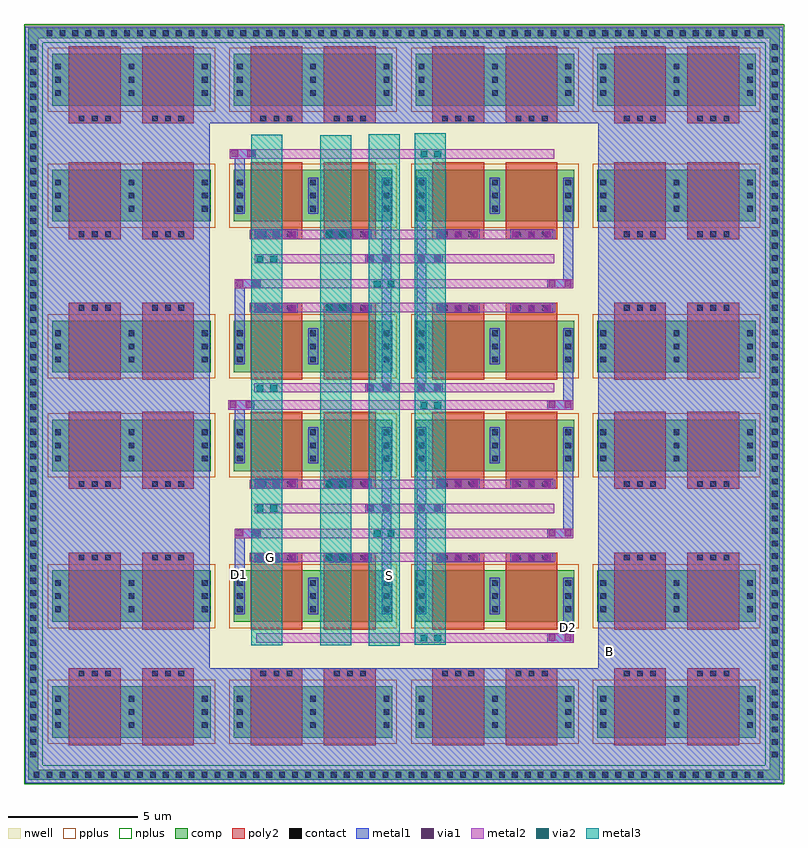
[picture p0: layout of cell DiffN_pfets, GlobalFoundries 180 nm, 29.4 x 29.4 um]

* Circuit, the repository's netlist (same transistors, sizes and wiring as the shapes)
** sch_path: /home/gmaranhao/Desktop/Bracolin/TIA_Filter/PseudoResistor/DiffN_pfets.sch
.subckt DiffN_pfets D1 D2 G S B
*.PININFO D1:B D2:B G:B S:B B:B
M1 net4 G S B pfet_03v3 L=2u W=2u nf=1 m=1
M2 net5 G S B pfet_03v3 L=2u W=2u nf=1 m=1
M3 net3 G S B pfet_03v3 L=2u W=2u nf=1 m=1
M4 net2 G S B pfet_03v3 L=2u W=2u nf=1 m=1
M5 net1 G S B pfet_03v3 L=2u W=2u nf=1 m=1
M6 D1 G net4 B pfet_03v3 L=2u W=2u nf=1 m=1
M7 D1 G net3 B pfet_03v3 L=2u W=2u nf=1 m=1
M8 D1 G net2 B pfet_03v3 L=2u W=2u nf=1 m=1
M9 D1 G net1 B pfet_03v3 L=2u W=2u nf=1 m=1
M10 net6 G S B pfet_03v3 L=2u W=2u nf=1 m=1
M11 net7 G S B pfet_03v3 L=2u W=2u nf=1 m=1
M12 net8 G S B pfet_03v3 L=2u W=2u nf=1 m=1
M13 D2 G net5 B pfet_03v3 L=2u W=2u nf=1 m=1
M14 D2 G net6 B pfet_03v3 L=2u W=2u nf=1 m=1
M15 D2 G net7 B pfet_03v3 L=2u W=2u nf=1 m=1
M16 D2 G net8 B pfet_03v3 L=2u W=2u nf=1 m=1
M17[1] B B B B pfet_03v3 L=2u W=2u nf=1 m=1
M17[2] B B B B pfet_03v3 L=2u W=2u nf=1 m=1
M17[3] B B B B pfet_03v3 L=2u W=2u nf=1 m=1
M17[4] B B B B pfet_03v3 L=2u W=2u nf=1 m=1
M17[5] B B B B pfet_03v3 L=2u W=2u nf=1 m=1
M17[6] B B B B pfet_03v3 L=2u W=2u nf=1 m=1
M17[7] B B B B pfet_03v3 L=2u W=2u nf=1 m=1
M17[8] B B B B pfet_03v3 L=2u W=2u nf=1 m=1
M17[9] B B B B pfet_03v3 L=2u W=2u nf=1 m=1
M17[10] B B B B pfet_03v3 L=2u W=2u nf=1 m=1
M17[11] B B B B pfet_03v3 L=2u W=2u nf=1 m=1
M17[12] B B B B pfet_03v3 L=2u W=2u nf=1 m=1
M17[13] B B B B pfet_03v3 L=2u W=2u nf=1 m=1
M17[14] B B B B pfet_03v3 L=2u W=2u nf=1 m=1
M17[15] B B B B pfet_03v3 L=2u W=2u nf=1 m=1
M17[16] B B B B pfet_03v3 L=2u W=2u nf=1 m=1
M17[17] B B B B pfet_03v3 L=2u W=2u nf=1 m=1
M17[18] B B B B pfet_03v3 L=2u W=2u nf=1 m=1
M17[19] B B B B pfet_03v3 L=2u W=2u nf=1 m=1
M17[20] B B B B pfet_03v3 L=2u W=2u nf=1 m=1
M17[21] B B B B pfet_03v3 L=2u W=2u nf=1 m=1
M17[22] B B B B pfet_03v3 L=2u W=2u nf=1 m=1
M17[23] B B B B pfet_03v3 L=2u W=2u nf=1 m=1
M17[24] B B B B pfet_03v3 L=2u W=2u nf=1 m=1
M17[25] B B B B pfet_03v3 L=2u W=2u nf=1 m=1
M17[26] B B B B pfet_03v3 L=2u W=2u nf=1 m=1
M17[27] B B B B pfet_03v3 L=2u W=2u nf=1 m=1
M17[28] B B B B pfet_03v3 L=2u W=2u nf=1 m=1
M17[29] B B B B pfet_03v3 L=2u W=2u nf=1 m=1
M17[30] B B B B pfet_03v3 L=2u W=2u nf=1 m=1
M17[31] B B B B pfet_03v3 L=2u W=2u nf=1 m=1
M17[32] B B B B pfet_03v3 L=2u W=2u nf=1 m=1
.ends
.end

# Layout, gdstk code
import gdstk
lib = gdstk.Library(unit=1e-6, precision=1e-09)
def R(c, l, rs):  # rectangles x0, y0, x1, y1
    for r in rs: c.add(gdstk.rectangle(r[:2], r[2:], *l))
def A(c, l, x, y, w, h, nx, ny, dx, dy):  # array of equal rectangles
    R(c, l, [(x+i*dx, y+j*dy, x+i*dx+w, y+j*dy+h) for i in range(nx) for j in range(ny)])
nwell = (21, 0)
comp = (22, 0)
poly2 = (30, 0)
pplus = (31, 0)
nplus = (32, 0)
contact = (33, 0)
metal1 = (34, 0)
via1 = (35, 0)
metal2 = (36, 0)
via2 = (38, 0)
metal3 = (42, 0)

pfet = lib.new_cell('pfet')
R(pfet, nwell, [(-0.9,-0.44,3.28,2.44)])
R(pfet, comp, [(-0.46,0,0,2), (0,0,2.38,2), (2.38,0,2.84,2)])
R(pfet, poly2, [(0.19,-0.3,2.19,2.3), (0.19,2.3,2.19,2.68)])
R(pfet, pplus, [(-0.63,-0.24,3.01,2.24)])
A(pfet, contact, -0.34, 0.38, 0.22, 0.22, 1, 3, 0, 0.51)
A(pfet, contact, 2.5, 0.38, 0.22, 0.22, 1, 3, 0, 0.51)
A(pfet, contact, 0.57, 2.38, 0.22, 0.22, 3, 1, 0.51, 0)
R(pfet, metal1, [(-0.42,0.3,-0.04,1.7), (2.42,0.3,2.8,1.7), (0.49,2.3,1.89,2.68)])

diffn_pfets = lib.new_cell('DiffN_pfets')
R(diffn_pfets, nwell, [(-8.535,-6.23,20.775,23.085)])
R(diffn_pfets, comp, [(-8.405,-6.1,20.655,-5.72), (20.275,-5.8,20.655,22.96), (-8.405,-5.735,-8.025,22.96), (-8.285,22.58,20.405,22.96)])
R(diffn_pfets, nplus, [(-8.575,-6.27,20.825,-5.55), (-8.575,-5.645,-7.855,23.13), (20.105,-5.645,20.825,23.13), (-8.455,22.41,20.575,23.13)])
A(diffn_pfets, contact, -8.2, -6.02, 0.22, 0.22, 57, 1, 0.5, 0)
A(diffn_pfets, contact, -8.325, -5.235, 0.22, 0.22, 1, 58, 0, 0.48)
A(diffn_pfets, contact, 20.355, -5.235, 0.22, 0.22, 1, 58, 0, 0.48)
A(diffn_pfets, contact, -7.7, 22.66, 0.22, 0.22, 56, 1, 0.5, 0)
R(diffn_pfets, metal1, [(-8.52,-6.235,-1.39,23.03), (-1.43,-6.235,20.77,-1.8), (13.64,-6.235,20.77,23.03), (11.66,-0.8,12.67,-0.445), (11.66,-0.8,12.67,-0.445), (11.66,-0.8,12.67,-0.445), (12.29,-0.79,12.67,1.17), (5.26,1.585,5.64,4.28), (6.61,1.585,6.99,4.28), (-0.42,1.63,-0.04,3.585), (0.36,2.3,2.01,2.68), (3.21,2.3,4.86,2.68), (7.4,2.3,9.05,2.68), (10.24,2.3,11.89,2.68), (-0.42,3.245,0.59,3.6), (-0.42,3.245,0.59,3.6), (-0.42,3.245,0.59,3.6), (11.66,3.245,12.67,3.6), (11.66,3.245,12.67,3.6), (11.66,3.245,12.67,3.6), (12.29,3.245,12.67,6.885), (4.63,4.21,5.64,4.565), (4.63,4.21,5.64,4.565), (4.63,4.21,5.64,4.565), (4.63,4.21,5.64,4.565), (4.63,4.21,5.64,4.565), (4.63,4.21,5.64,4.565), (5.26,4.21,5.64,6.33), (5.26,4.21,5.64,6.33), (6.61,4.21,7.62,4.565), (6.61,4.21,7.62,4.565), (6.61,4.21,7.62,4.565), (6.61,4.21,7.62,4.565), (6.61,4.21,7.62,4.565), (6.61,4.21,7.62,4.565), (6.61,4.21,6.99,6.33), (6.61,4.21,6.99,6.33), (0.36,5.15,2.01,5.53), (3.21,5.15,4.86,5.53), (7.4,5.15,9.05,5.53), (10.24,5.15,11.89,5.53), (-0.42,7.47,-0.04,8.455), (-0.68,8.215,0.33,8.57), (-0.68,8.215,0.33,8.57), (-0.68,8.215,0.33,8.57), (11.66,8.215,12.67,8.57), (11.66,8.215,12.67,8.57), (11.66,8.215,12.67,8.57), (12.29,8.235,12.67,10.29), (4.63,8.875,5.64,9.23), (4.63,8.875,5.64,9.23), (4.63,8.875,5.64,9.23), (6.61,8.875,7.62,9.23), (6.61,8.875,7.62,9.23), (6.61,8.875,7.62,9.23), (5.26,8.905,5.64,14.015), (6.61,8.905,6.99,14.02), (-0.42,11.29,-0.04,13.245), (0.36,11.96,2.01,12.34), (3.21,11.96,4.86,12.34), (7.4,11.96,9.05,12.34), (10.24,11.96,11.89,12.34), (-0.42,12.905,0.59,13.26), (-0.42,12.905,0.59,13.26), (-0.42,12.905,0.59,13.26), (11.66,12.905,12.67,13.26), (11.66,12.905,12.67,13.26), (11.66,12.905,12.67,13.26), (12.29,12.905,12.67,16.545), (4.63,13.87,5.64,14.225), (4.63,13.87,5.64,14.225), (4.63,13.87,5.64,14.225), (5.26,13.87,5.64,15.99), (6.61,13.87,7.62,14.225), (6.61,13.87,7.62,14.225), (6.61,13.87,7.62,14.225), (6.61,13.87,6.99,15.99), (0.36,14.81,2.01,15.19), (3.21,14.81,4.86,15.19), (7.4,14.81,9.05,15.19), (10.24,14.81,11.89,15.19), (-0.42,17.135,-0.04,18.085), (-0.615,17.925,0.395,18.28), (-0.615,17.925,0.395,18.28), (-0.615,17.925,0.395,18.28), (-1.43,19.29,20.77,23.03)])
R(diffn_pfets, via1, [(11.72,-0.735,11.98,-0.475), (11.72,-0.735,11.98,-0.475), (12.34,-0.735,12.6,-0.475), (12.34,-0.735,12.6,-0.475), (0.43,2.35,0.69,2.61), (0.43,2.35,0.69,2.61), (0.43,2.35,0.69,2.61), (0.43,2.35,0.69,2.61), (0.43,2.35,0.69,2.61), (0.43,2.35,0.69,2.61), (0.43,2.35,0.69,2.61), (0.43,2.35,0.69,2.61), (1.05,2.35,1.31,2.61), (1.05,2.35,1.31,2.61), (1.05,2.35,1.31,2.61), (1.05,2.35,1.31,2.61), (1.05,2.35,1.31,2.61), (1.05,2.35,1.31,2.61), (1.05,2.35,1.31,2.61), (1.05,2.35,1.31,2.61), (1.67,2.35,1.93,2.61), (1.67,2.35,1.93,2.61), (1.67,2.35,1.93,2.61), (1.67,2.35,1.93,2.61), (1.67,2.35,1.93,2.61), (1.67,2.35,1.93,2.61), (1.67,2.35,1.93,2.61), (1.67,2.35,1.93,2.61), (3.28,2.35,3.54,2.61), (3.28,2.35,3.54,2.61), (3.28,2.35,3.54,2.61), (3.28,2.35,3.54,2.61), (3.28,2.35,3.54,2.61), (3.28,2.35,3.54,2.61), (3.28,2.35,3.54,2.61), (3.28,2.35,3.54,2.61), (3.9,2.35,4.16,2.61), (3.9,2.35,4.16,2.61), (3.9,2.35,4.16,2.61), (3.9,2.35,4.16,2.61), (3.9,2.35,4.16,2.61), (3.9,2.35,4.16,2.61), (3.9,2.35,4.16,2.61), (3.9,2.35,4.16,2.61), (4.52,2.35,4.78,2.61), (4.52,2.35,4.78,2.61), (4.52,2.35,4.78,2.61), (4.52,2.35,4.78,2.61), (4.52,2.35,4.78,2.61), (4.52,2.35,4.78,2.61), (4.52,2.35,4.78,2.61), (4.52,2.35,4.78,2.61), (7.47,2.35,7.73,2.61), (7.47,2.35,7.73,2.61), (7.47,2.35,7.73,2.61), (7.47,2.35,7.73,2.61), (7.47,2.35,7.73,2.61), (7.47,2.35,7.73,2.61), (7.47,2.35,7.73,2.61), (7.47,2.35,7.73,2.61), (8.09,2.35,8.35,2.61), (8.09,2.35,8.35,2.61), (8.09,2.35,8.35,2.61), (8.09,2.35,8.35,2.61), (8.09,2.35,8.35,2.61), (8.09,2.35,8.35,2.61), (8.09,2.35,8.35,2.61), (8.09,2.35,8.35,2.61), (8.71,2.35,8.97,2.61), (8.71,2.35,8.97,2.61), (8.71,2.35,8.97,2.61), (8.71,2.35,8.97,2.61), (8.71,2.35,8.97,2.61), (8.71,2.35,8.97,2.61), (8.71,2.35,8.97,2.61), (8.71,2.35,8.97,2.61), (10.31,2.35,10.57,2.61), (10.31,2.35,10.57,2.61), (10.31,2.35,10.57,2.61), (10.31,2.35,10.57,2.61), (10.31,2.35,10.57,2.61), (10.31,2.35,10.57,2.61), (10.31,2.35,10.57,2.61), (10.31,2.35,10.57,2.61), (10.93,2.35,11.19,2.61), (10.93,2.35,11.19,2.61), (10.93,2.35,11.19,2.61), (10.93,2.35,11.19,2.61), (10.93,2.35,11.19,2.61), (10.93,2.35,11.19,2.61), (10.93,2.35,11.19,2.61), (10.93,2.35,11.19,2.61), (11.55,2.35,11.81,2.61), (11.55,2.35,11.81,2.61), (11.55,2.35,11.81,2.61), (11.55,2.35,11.81,2.61), (11.55,2.35,11.81,2.61), (11.55,2.35,11.81,2.61), (11.55,2.35,11.81,2.61), (11.55,2.35,11.81,2.61), (-0.36,3.31,-0.1,3.57), (-0.36,3.31,-0.1,3.57), (0.26,3.31,0.52,3.57), (0.26,3.31,0.52,3.57), (11.72,3.31,11.98,3.57), (11.72,3.31,11.98,3.57), (12.34,3.31,12.6,3.57), (12.34,3.31,12.6,3.57), (4.69,4.275,4.95,4.535), (4.69,4.275,4.95,4.535), (4.69,4.275,4.95,4.535), (4.69,4.275,4.95,4.535), (5.31,4.275,5.57,4.535), (5.31,4.275,5.57,4.535), (5.31,4.275,5.57,4.535), (5.31,4.275,5.57,4.535), (6.67,4.275,6.93,4.535), (6.67,4.275,6.93,4.535), (6.67,4.275,6.93,4.535), (6.67,4.275,6.93,4.535), (7.29,4.275,7.55,4.535), (7.29,4.275,7.55,4.535), (7.29,4.275,7.55,4.535), (7.29,4.275,7.55,4.535), (0.43,5.2,0.69,5.46), (0.43,5.2,0.69,5.46), (0.43,5.2,0.69,5.46), (0.43,5.2,0.69,5.46), (0.43,5.2,0.69,5.46), (0.43,5.2,0.69,5.46), (0.43,5.2,0.69,5.46), (0.43,5.2,0.69,5.46), (1.05,5.2,1.31,5.46), (1.05,5.2,1.31,5.46), (1.05,5.2,1.31,5.46), (1.05,5.2,1.31,5.46), (1.05,5.2,1.31,5.46), (1.05,5.2,1.31,5.46), (1.05,5.2,1.31,5.46), (1.05,5.2,1.31,5.46), (1.67,5.2,1.93,5.46), (1.67,5.2,1.93,5.46), (1.67,5.2,1.93,5.46), (1.67,5.2,1.93,5.46), (1.67,5.2,1.93,5.46), (1.67,5.2,1.93,5.46), (1.67,5.2,1.93,5.46), (1.67,5.2,1.93,5.46), (3.28,5.2,3.54,5.46), (3.28,5.2,3.54,5.46), (3.28,5.2,3.54,5.46), (3.28,5.2,3.54,5.46), (3.28,5.2,3.54,5.46), (3.28,5.2,3.54,5.46), (3.28,5.2,3.54,5.46), (3.28,5.2,3.54,5.46), (3.9,5.2,4.16,5.46), (3.9,5.2,4.16,5.46), (3.9,5.2,4.16,5.46), (3.9,5.2,4.16,5.46), (3.9,5.2,4.16,5.46), (3.9,5.2,4.16,5.46), (3.9,5.2,4.16,5.46), (3.9,5.2,4.16,5.46), (4.52,5.2,4.78,5.46), (4.52,5.2,4.78,5.46), (4.52,5.2,4.78,5.46), (4.52,5.2,4.78,5.46), (4.52,5.2,4.78,5.46), (4.52,5.2,4.78,5.46), (4.52,5.2,4.78,5.46), (4.52,5.2,4.78,5.46), (7.47,5.2,7.73,5.46), (7.47,5.2,7.73,5.46), (7.47,5.2,7.73,5.46), (7.47,5.2,7.73,5.46), (7.47,5.2,7.73,5.46), (7.47,5.2,7.73,5.46), (7.47,5.2,7.73,5.46), (7.47,5.2,7.73,5.46), (8.09,5.2,8.35,5.46), (8.09,5.2,8.35,5.46), (8.09,5.2,8.35,5.46), (8.09,5.2,8.35,5.46), (8.09,5.2,8.35,5.46), (8.09,5.2,8.35,5.46), (8.09,5.2,8.35,5.46), (8.09,5.2,8.35,5.46), (8.71,5.2,8.97,5.46), (8.71,5.2,8.97,5.46), (8.71,5.2,8.97,5.46), (8.71,5.2,8.97,5.46), (8.71,5.2,8.97,5.46), (8.71,5.2,8.97,5.46), (8.71,5.2,8.97,5.46), (8.71,5.2,8.97,5.46), (10.31,5.2,10.57,5.46), (10.31,5.2,10.57,5.46), (10.31,5.2,10.57,5.46), (10.31,5.2,10.57,5.46), (10.31,5.2,10.57,5.46), (10.31,5.2,10.57,5.46), (10.31,5.2,10.57,5.46), (10.31,5.2,10.57,5.46), (10.93,5.2,11.19,5.46), (10.93,5.2,11.19,5.46), (10.93,5.2,11.19,5.46), (10.93,5.2,11.19,5.46), (10.93,5.2,11.19,5.46), (10.93,5.2,11.19,5.46), (10.93,5.2,11.19,5.46), (10.93,5.2,11.19,5.46), (11.55,5.2,11.81,5.46), (11.55,5.2,11.81,5.46), (11.55,5.2,11.81,5.46), (11.55,5.2,11.81,5.46), (11.55,5.2,11.81,5.46), (11.55,5.2,11.81,5.46), (11.55,5.2,11.81,5.46), (11.55,5.2,11.81,5.46), (-0.62,8.28,-0.36,8.54), (-0.62,8.28,-0.36,8.54), (0,8.28,0.26,8.54), (0,8.28,0.26,8.54), (11.72,8.28,11.98,8.54), (11.72,8.28,11.98,8.54), (12.34,8.28,12.6,8.54), (12.34,8.28,12.6,8.54), (4.69,8.94,4.95,9.2), (4.69,8.94,4.95,9.2), (5.31,8.94,5.57,9.2), (5.31,8.94,5.57,9.2), (6.67,8.94,6.93,9.2), (6.67,8.94,6.93,9.2), (7.29,8.94,7.55,9.2), (7.29,8.94,7.55,9.2), (0.43,12.01,0.69,12.27), (0.43,12.01,0.69,12.27), (0.43,12.01,0.69,12.27), (0.43,12.01,0.69,12.27), (0.43,12.01,0.69,12.27), (0.43,12.01,0.69,12.27), (0.43,12.01,0.69,12.27), (0.43,12.01,0.69,12.27), (1.05,12.01,1.31,12.27), (1.05,12.01,1.31,12.27), (1.05,12.01,1.31,12.27), (1.05,12.01,1.31,12.27), (1.05,12.01,1.31,12.27), (1.05,12.01,1.31,12.27), (1.05,12.01,1.31,12.27), (1.05,12.01,1.31,12.27), (1.67,12.01,1.93,12.27), (1.67,12.01,1.93,12.27), (1.67,12.01,1.93,12.27), (1.67,12.01,1.93,12.27), (1.67,12.01,1.93,12.27), (1.67,12.01,1.93,12.27), (1.67,12.01,1.93,12.27), (1.67,12.01,1.93,12.27), (3.28,12.01,3.54,12.27), (3.28,12.01,3.54,12.27), (3.28,12.01,3.54,12.27), (3.28,12.01,3.54,12.27), (3.28,12.01,3.54,12.27), (3.28,12.01,3.54,12.27), (3.28,12.01,3.54,12.27), (3.28,12.01,3.54,12.27), (3.9,12.01,4.16,12.27), (3.9,12.01,4.16,12.27), (3.9,12.01,4.16,12.27), (3.9,12.01,4.16,12.27), (3.9,12.01,4.16,12.27), (3.9,12.01,4.16,12.27), (3.9,12.01,4.16,12.27), (3.9,12.01,4.16,12.27), (4.52,12.01,4.78,12.27), (4.52,12.01,4.78,12.27), (4.52,12.01,4.78,12.27), (4.52,12.01,4.78,12.27), (4.52,12.01,4.78,12.27), (4.52,12.01,4.78,12.27), (4.52,12.01,4.78,12.27), (4.52,12.01,4.78,12.27), (7.47,12.01,7.73,12.27), (7.47,12.01,7.73,12.27), (7.47,12.01,7.73,12.27), (7.47,12.01,7.73,12.27), (7.47,12.01,7.73,12.27), (7.47,12.01,7.73,12.27), (7.47,12.01,7.73,12.27), (7.47,12.01,7.73,12.27), (8.09,12.01,8.35,12.27), (8.09,12.01,8.35,12.27), (8.09,12.01,8.35,12.27), (8.09,12.01,8.35,12.27), (8.09,12.01,8.35,12.27), (8.09,12.01,8.35,12.27), (8.09,12.01,8.35,12.27), (8.09,12.01,8.35,12.27), (8.71,12.01,8.97,12.27), (8.71,12.01,8.97,12.27), (8.71,12.01,8.97,12.27), (8.71,12.01,8.97,12.27), (8.71,12.01,8.97,12.27), (8.71,12.01,8.97,12.27), (8.71,12.01,8.97,12.27), (8.71,12.01,8.97,12.27), (10.31,12.01,10.57,12.27), (10.31,12.01,10.57,12.27), (10.31,12.01,10.57,12.27), (10.31,12.01,10.57,12.27), (10.31,12.01,10.57,12.27), (10.31,12.01,10.57,12.27), (10.31,12.01,10.57,12.27), (10.31,12.01,10.57,12.27), (10.93,12.01,11.19,12.27), (10.93,12.01,11.19,12.27), (10.93,12.01,11.19,12.27), (10.93,12.01,11.19,12.27), (10.93,12.01,11.19,12.27), (10.93,12.01,11.19,12.27), (10.93,12.01,11.19,12.27), (10.93,12.01,11.19,12.27), (11.55,12.01,11.81,12.27), (11.55,12.01,11.81,12.27), (11.55,12.01,11.81,12.27), (11.55,12.01,11.81,12.27), (11.55,12.01,11.81,12.27), (11.55,12.01,11.81,12.27), (11.55,12.01,11.81,12.27), (11.55,12.01,11.81,12.27), (-0.36,12.97,-0.1,13.23), (-0.36,12.97,-0.1,13.23), (0.26,12.97,0.52,13.23), (0.26,12.97,0.52,13.23), (11.72,12.97,11.98,13.23), (11.72,12.97,11.98,13.23), (12.34,12.97,12.6,13.23), (12.34,12.97,12.6,13.23), (4.69,13.935,4.95,14.195), (4.69,13.935,4.95,14.195), (5.31,13.935,5.57,14.195), (5.31,13.935,5.57,14.195), (6.67,13.935,6.93,14.195), (6.67,13.935,6.93,14.195), (7.29,13.935,7.55,14.195), (7.29,13.935,7.55,14.195), (0.43,14.86,0.69,15.12), (0.43,14.86,0.69,15.12), (0.43,14.86,0.69,15.12), (0.43,14.86,0.69,15.12), (0.43,14.86,0.69,15.12), (0.43,14.86,0.69,15.12), (0.43,14.86,0.69,15.12), (0.43,14.86,0.69,15.12), (1.05,14.86,1.31,15.12), (1.05,14.86,1.31,15.12), (1.05,14.86,1.31,15.12), (1.05,14.86,1.31,15.12), (1.05,14.86,1.31,15.12), (1.05,14.86,1.31,15.12), (1.05,14.86,1.31,15.12), (1.05,14.86,1.31,15.12), (1.67,14.86,1.93,15.12), (1.67,14.86,1.93,15.12), (1.67,14.86,1.93,15.12), (1.67,14.86,1.93,15.12), (1.67,14.86,1.93,15.12), (1.67,14.86,1.93,15.12), (1.67,14.86,1.93,15.12), (1.67,14.86,1.93,15.12), (3.28,14.86,3.54,15.12), (3.28,14.86,3.54,15.12), (3.28,14.86,3.54,15.12), (3.28,14.86,3.54,15.12), (3.28,14.86,3.54,15.12), (3.28,14.86,3.54,15.12), (3.28,14.86,3.54,15.12), (3.28,14.86,3.54,15.12), (3.9,14.86,4.16,15.12), (3.9,14.86,4.16,15.12), (3.9,14.86,4.16,15.12), (3.9,14.86,4.16,15.12), (3.9,14.86,4.16,15.12), (3.9,14.86,4.16,15.12), (3.9,14.86,4.16,15.12), (3.9,14.86,4.16,15.12), (4.52,14.86,4.78,15.12), (4.52,14.86,4.78,15.12), (4.52,14.86,4.78,15.12), (4.52,14.86,4.78,15.12), (4.52,14.86,4.78,15.12), (4.52,14.86,4.78,15.12), (4.52,14.86,4.78,15.12), (4.52,14.86,4.78,15.12), (7.47,14.86,7.73,15.12), (7.47,14.86,7.73,15.12), (7.47,14.86,7.73,15.12), (7.47,14.86,7.73,15.12), (7.47,14.86,7.73,15.12), (7.47,14.86,7.73,15.12), (7.47,14.86,7.73,15.12), (7.47,14.86,7.73,15.12), (8.09,14.86,8.35,15.12), (8.09,14.86,8.35,15.12), (8.09,14.86,8.35,15.12), (8.09,14.86,8.35,15.12), (8.09,14.86,8.35,15.12), (8.09,14.86,8.35,15.12), (8.09,14.86,8.35,15.12), (8.09,14.86,8.35,15.12), (8.71,14.86,8.97,15.12), (8.71,14.86,8.97,15.12), (8.71,14.86,8.97,15.12), (8.71,14.86,8.97,15.12), (8.71,14.86,8.97,15.12), (8.71,14.86,8.97,15.12), (8.71,14.86,8.97,15.12), (8.71,14.86,8.97,15.12), (10.31,14.86,10.57,15.12), (10.31,14.86,10.57,15.12), (10.31,14.86,10.57,15.12), (10.31,14.86,10.57,15.12), (10.31,14.86,10.57,15.12), (10.31,14.86,10.57,15.12), (10.31,14.86,10.57,15.12), (10.31,14.86,10.57,15.12), (10.93,14.86,11.19,15.12), (10.93,14.86,11.19,15.12), (10.93,14.86,11.19,15.12), (10.93,14.86,11.19,15.12), (10.93,14.86,11.19,15.12), (10.93,14.86,11.19,15.12), (10.93,14.86,11.19,15.12), (10.93,14.86,11.19,15.12), (11.55,14.86,11.81,15.12), (11.55,14.86,11.81,15.12), (11.55,14.86,11.81,15.12), (11.55,14.86,11.81,15.12), (11.55,14.86,11.81,15.12), (11.55,14.86,11.81,15.12), (11.55,14.86,11.81,15.12), (11.55,14.86,11.81,15.12), (-0.555,17.99,-0.295,18.25), (-0.555,17.99,-0.295,18.25), (0.065,17.99,0.325,18.25), (0.065,17.99,0.325,18.25)])
R(diffn_pfets, metal2, [(0.41,-0.8,12.7,-0.445), (0.15,2.325,11.97,2.68), (-0.43,3.245,12.675,3.6), (0.36,4.21,11.935,4.565), (0.15,5.15,11.97,5.505), (-0.68,8.215,12.67,8.57), (0.34,8.875,11.935,9.23), (0.15,11.985,11.97,12.34), (0.15,11.985,11.97,12.34), (-0.43,12.905,12.675,13.26), (0.35,13.87,11.935,14.225), (0.15,14.81,11.97,15.165), (0.15,14.81,11.97,15.165), (-0.615,17.925,11.935,18.28)])
R(diffn_pfets, via2, [(6.77,-0.755,7.03,-0.495), (6.77,-0.755,7.03,-0.495), (6.77,-0.755,7.03,-0.495), (6.77,-0.755,7.03,-0.495), (6.77,-0.755,7.03,-0.495), (6.77,-0.755,7.03,-0.495), (6.77,-0.755,7.03,-0.495), (6.77,-0.755,7.03,-0.495), (7.3,-0.755,7.56,-0.495), (7.3,-0.755,7.56,-0.495), (7.3,-0.755,7.56,-0.495), (7.3,-0.755,7.56,-0.495), (7.3,-0.755,7.56,-0.495), (7.3,-0.755,7.56,-0.495), (7.3,-0.755,7.56,-0.495), (7.3,-0.755,7.56,-0.495), (3.095,2.37,3.355,2.63), (3.095,2.37,3.355,2.63), (3.095,2.37,3.355,2.63), (3.095,2.37,3.355,2.63), (3.095,2.37,3.355,2.63), (3.095,2.37,3.355,2.63), (3.095,2.37,3.355,2.63), (3.095,2.37,3.355,2.63), (3.625,2.37,3.885,2.63), (3.625,2.37,3.885,2.63), (3.625,2.37,3.885,2.63), (3.625,2.37,3.885,2.63), (3.625,2.37,3.885,2.63), (3.625,2.37,3.885,2.63), (3.625,2.37,3.885,2.63), (3.625,2.37,3.885,2.63), (4.96,3.29,5.22,3.55), (4.96,3.29,5.22,3.55), (4.96,3.29,5.22,3.55), (4.96,3.29,5.22,3.55), (4.96,3.29,5.22,3.55), (4.96,3.29,5.22,3.55), (4.96,3.29,5.22,3.55), (4.96,3.29,5.22,3.55), (5.49,3.29,5.75,3.55), (5.49,3.29,5.75,3.55), (5.49,3.29,5.75,3.55), (5.49,3.29,5.75,3.55), (5.49,3.29,5.75,3.55), (5.49,3.29,5.75,3.55), (5.49,3.29,5.75,3.55), (5.49,3.29,5.75,3.55), (0.425,4.265,0.685,4.525), (0.425,4.265,0.685,4.525), (0.425,4.265,0.685,4.525), (0.425,4.265,0.685,4.525), (0.425,4.265,0.685,4.525), (0.425,4.265,0.685,4.525), (0.425,4.265,0.685,4.525), (0.425,4.265,0.685,4.525), (0.955,4.265,1.215,4.525), (0.955,4.265,1.215,4.525), (0.955,4.265,1.215,4.525), (0.955,4.265,1.215,4.525), (0.955,4.265,1.215,4.525), (0.955,4.265,1.215,4.525), (0.955,4.265,1.215,4.525), (0.955,4.265,1.215,4.525), (3.095,5.195,3.355,5.455), (3.095,5.195,3.355,5.455), (3.095,5.195,3.355,5.455), (3.095,5.195,3.355,5.455), (3.095,5.195,3.355,5.455), (3.095,5.195,3.355,5.455), (3.095,5.195,3.355,5.455), (3.095,5.195,3.355,5.455), (3.625,5.195,3.885,5.455), (3.625,5.195,3.885,5.455), (3.625,5.195,3.885,5.455), (3.625,5.195,3.885,5.455), (3.625,5.195,3.885,5.455), (3.625,5.195,3.885,5.455), (3.625,5.195,3.885,5.455), (3.625,5.195,3.885,5.455), (6.77,8.255,7.03,8.515), (6.77,8.255,7.03,8.515), (6.77,8.255,7.03,8.515), (6.77,8.255,7.03,8.515), (6.77,8.255,7.03,8.515), (6.77,8.255,7.03,8.515), (6.77,8.255,7.03,8.515), (6.77,8.255,7.03,8.515), (7.3,8.255,7.56,8.515), (7.3,8.255,7.56,8.515), (7.3,8.255,7.56,8.515), (7.3,8.255,7.56,8.515), (7.3,8.255,7.56,8.515), (7.3,8.255,7.56,8.515), (7.3,8.255,7.56,8.515), (7.3,8.255,7.56,8.515), (0.425,8.91,0.685,9.17), (0.425,8.91,0.685,9.17), (0.425,8.91,0.685,9.17), (0.425,8.91,0.685,9.17), (0.425,8.91,0.685,9.17), (0.425,8.91,0.685,9.17), (0.425,8.91,0.685,9.17), (0.425,8.91,0.685,9.17), (0.955,8.91,1.215,9.17), (0.955,8.91,1.215,9.17), (0.955,8.91,1.215,9.17), (0.955,8.91,1.215,9.17), (0.955,8.91,1.215,9.17), (0.955,8.91,1.215,9.17), (0.955,8.91,1.215,9.17), (0.955,8.91,1.215,9.17), (3.095,12.03,3.355,12.29), (3.095,12.03,3.355,12.29), (3.095,12.03,3.355,12.29), (3.095,12.03,3.355,12.29), (3.095,12.03,3.355,12.29), (3.095,12.03,3.355,12.29), (3.095,12.03,3.355,12.29), (3.095,12.03,3.355,12.29), (3.625,12.03,3.885,12.29), (3.625,12.03,3.885,12.29), (3.625,12.03,3.885,12.29), (3.625,12.03,3.885,12.29), (3.625,12.03,3.885,12.29), (3.625,12.03,3.885,12.29), (3.625,12.03,3.885,12.29), (3.625,12.03,3.885,12.29), (4.96,12.94,5.22,13.2), (4.96,12.94,5.22,13.2), (4.96,12.94,5.22,13.2), (4.96,12.94,5.22,13.2), (4.96,12.94,5.22,13.2), (4.96,12.94,5.22,13.2), (4.96,12.94,5.22,13.2), (4.96,12.94,5.22,13.2), (5.49,12.94,5.75,13.2), (5.49,12.94,5.75,13.2), (5.49,12.94,5.75,13.2), (5.49,12.94,5.75,13.2), (5.49,12.94,5.75,13.2), (5.49,12.94,5.75,13.2), (5.49,12.94,5.75,13.2), (5.49,12.94,5.75,13.2), (0.425,13.91,0.685,14.17), (0.425,13.91,0.685,14.17), (0.425,13.91,0.685,14.17), (0.425,13.91,0.685,14.17), (0.425,13.91,0.685,14.17), (0.425,13.91,0.685,14.17), (0.425,13.91,0.685,14.17), (0.425,13.91,0.685,14.17), (0.955,13.91,1.215,14.17), (0.955,13.91,1.215,14.17), (0.955,13.91,1.215,14.17), (0.955,13.91,1.215,14.17), (0.955,13.91,1.215,14.17), (0.955,13.91,1.215,14.17), (0.955,13.91,1.215,14.17), (0.955,13.91,1.215,14.17), (3.095,14.87,3.355,15.13), (3.095,14.87,3.355,15.13), (3.095,14.87,3.355,15.13), (3.095,14.87,3.355,15.13), (3.095,14.87,3.355,15.13), (3.095,14.87,3.355,15.13), (3.095,14.87,3.355,15.13), (3.095,14.87,3.355,15.13), (3.625,14.87,3.885,15.13), (3.625,14.87,3.885,15.13), (3.625,14.87,3.885,15.13), (3.625,14.87,3.885,15.13), (3.625,14.87,3.885,15.13), (3.625,14.87,3.885,15.13), (3.625,14.87,3.885,15.13), (3.625,14.87,3.885,15.13), (6.77,17.975,7.03,18.235), (6.77,17.975,7.03,18.235), (6.77,17.975,7.03,18.235), (6.77,17.975,7.03,18.235), (6.77,17.975,7.03,18.235), (6.77,17.975,7.03,18.235), (6.77,17.975,7.03,18.235), (6.77,17.975,7.03,18.235), (6.77,17.975,7.03,18.235), (6.77,17.975,7.03,18.235), (6.77,17.975,7.03,18.235), (6.77,17.975,7.03,18.235), (6.77,17.975,7.03,18.235), (6.77,17.975,7.03,18.235), (6.77,17.975,7.03,18.235), (6.77,17.975,7.03,18.235), (7.3,17.975,7.56,18.235), (7.3,17.975,7.56,18.235), (7.3,17.975,7.56,18.235), (7.3,17.975,7.56,18.235), (7.3,17.975,7.56,18.235), (7.3,17.975,7.56,18.235), (7.3,17.975,7.56,18.235), (7.3,17.975,7.56,18.235), (7.3,17.975,7.56,18.235), (7.3,17.975,7.56,18.235), (7.3,17.975,7.56,18.235), (7.3,17.975,7.56,18.235), (7.3,17.975,7.56,18.235), (7.3,17.975,7.56,18.235), (7.3,17.975,7.56,18.235), (7.3,17.975,7.56,18.235)])
R(diffn_pfets, metal3, [(4.76,-0.92,5.96,18.86), (0.22,-0.905,1.42,18.84), (2.88,-0.9,4.08,18.825), (6.545,-0.89,7.745,18.895)])
diffn_pfets.add(gdstk.Reference(pfet, (0,7.83), x_reflection=True))
diffn_pfets.add(gdstk.Reference(pfet, (2.84,7.83), x_reflection=True))
diffn_pfets.add(gdstk.Reference(pfet, (7.03,7.83), x_reflection=True))
diffn_pfets.add(gdstk.Reference(pfet, (9.87,7.83), x_reflection=True))
diffn_pfets.add(gdstk.Reference(pfet, (0,0)))
diffn_pfets.add(gdstk.Reference(pfet, (2.84,0)))
diffn_pfets.add(gdstk.Reference(pfet, (9.87,0)))
diffn_pfets.add(gdstk.Reference(pfet, (0,17.49), x_reflection=True))
diffn_pfets.add(gdstk.Reference(pfet, (2.84,17.49), x_reflection=True))
diffn_pfets.add(gdstk.Reference(pfet, (7.03,17.49), x_reflection=True))
diffn_pfets.add(gdstk.Reference(pfet, (9.87,17.49), x_reflection=True))
diffn_pfets.add(gdstk.Reference(pfet, (0,9.66)))
diffn_pfets.add(gdstk.Reference(pfet, (2.84,9.66)))
diffn_pfets.add(gdstk.Reference(pfet, (7.03,9.66)))
diffn_pfets.add(gdstk.Reference(pfet, (9.87,9.66)))
diffn_pfets.add(gdstk.Reference(pfet, (7.03,0)))
diffn_pfets.add(gdstk.Reference(pfet, (0,7.83), x_reflection=True))
diffn_pfets.add(gdstk.Reference(pfet, (2.84,7.83), x_reflection=True))
diffn_pfets.add(gdstk.Reference(pfet, (0,0)))
diffn_pfets.add(gdstk.Reference(pfet, (0,17.49), x_reflection=True))
diffn_pfets.add(gdstk.Reference(pfet, (2.84,17.49), x_reflection=True))
diffn_pfets.add(gdstk.Reference(pfet, (0,9.66)))
diffn_pfets.add(gdstk.Reference(pfet, (2.84,9.66)))
diffn_pfets.add(gdstk.Reference(pfet, (0,-4.48)))
diffn_pfets.add(gdstk.Reference(pfet, (2.84,-4.48)))
diffn_pfets.add(gdstk.Reference(pfet, (9.87,-4.48)))
diffn_pfets.add(gdstk.Reference(pfet, (7.03,-4.48)))
diffn_pfets.add(gdstk.Reference(pfet, (0,-4.48)))
diffn_pfets.add(gdstk.Reference(pfet, (2.84,-4.48)))
diffn_pfets.add(gdstk.Reference(pfet, (0,21.97), x_reflection=True))
diffn_pfets.add(gdstk.Reference(pfet, (2.84,21.97), x_reflection=True))
diffn_pfets.add(gdstk.Reference(pfet, (7.03,21.97), x_reflection=True))
diffn_pfets.add(gdstk.Reference(pfet, (9.87,21.97), x_reflection=True))
diffn_pfets.add(gdstk.Reference(pfet, (0,21.97), x_reflection=True))
diffn_pfets.add(gdstk.Reference(pfet, (2.84,21.97), x_reflection=True))
diffn_pfets.add(gdstk.Reference(pfet, (-7.03,7.83), x_reflection=True))
diffn_pfets.add(gdstk.Reference(pfet, (-4.19,7.83), x_reflection=True))
diffn_pfets.add(gdstk.Reference(pfet, (-7.03,0)))
diffn_pfets.add(gdstk.Reference(pfet, (-4.19,0)))
diffn_pfets.add(gdstk.Reference(pfet, (-7.03,17.49), x_reflection=True))
diffn_pfets.add(gdstk.Reference(pfet, (-4.19,17.49), x_reflection=True))
diffn_pfets.add(gdstk.Reference(pfet, (-7.03,9.66)))
diffn_pfets.add(gdstk.Reference(pfet, (-4.19,9.66)))
diffn_pfets.add(gdstk.Reference(pfet, (-7.03,7.83), x_reflection=True))
diffn_pfets.add(gdstk.Reference(pfet, (-4.19,7.83), x_reflection=True))
diffn_pfets.add(gdstk.Reference(pfet, (-7.03,0)))
diffn_pfets.add(gdstk.Reference(pfet, (-4.19,0)))
diffn_pfets.add(gdstk.Reference(pfet, (-7.03,17.49), x_reflection=True))
diffn_pfets.add(gdstk.Reference(pfet, (-4.19,17.49), x_reflection=True))
diffn_pfets.add(gdstk.Reference(pfet, (-7.03,9.66)))
diffn_pfets.add(gdstk.Reference(pfet, (-4.19,9.66)))
diffn_pfets.add(gdstk.Reference(pfet, (-7.03,-4.48)))
diffn_pfets.add(gdstk.Reference(pfet, (-4.19,-4.48)))
diffn_pfets.add(gdstk.Reference(pfet, (-7.03,-4.48)))
diffn_pfets.add(gdstk.Reference(pfet, (-4.19,-4.48)))
diffn_pfets.add(gdstk.Reference(pfet, (-7.03,21.97), x_reflection=True))
diffn_pfets.add(gdstk.Reference(pfet, (-4.19,21.97), x_reflection=True))
diffn_pfets.add(gdstk.Reference(pfet, (-7.03,21.97), x_reflection=True))
diffn_pfets.add(gdstk.Reference(pfet, (-4.19,21.97), x_reflection=True))
diffn_pfets.add(gdstk.Reference(pfet, (14.06,7.83), x_reflection=True))
diffn_pfets.add(gdstk.Reference(pfet, (16.9,7.83), x_reflection=True))
diffn_pfets.add(gdstk.Reference(pfet, (16.9,0)))
diffn_pfets.add(gdstk.Reference(pfet, (14.06,17.49), x_reflection=True))
diffn_pfets.add(gdstk.Reference(pfet, (16.9,17.49), x_reflection=True))
diffn_pfets.add(gdstk.Reference(pfet, (14.06,9.66)))
diffn_pfets.add(gdstk.Reference(pfet, (16.9,9.66)))
diffn_pfets.add(gdstk.Reference(pfet, (14.06,0)))
diffn_pfets.add(gdstk.Reference(pfet, (16.9,-4.48)))
diffn_pfets.add(gdstk.Reference(pfet, (14.06,-4.48)))
diffn_pfets.add(gdstk.Reference(pfet, (14.06,21.97), x_reflection=True))
diffn_pfets.add(gdstk.Reference(pfet, (16.9,21.97), x_reflection=True))
diffn_pfets.add(gdstk.Label('G', (0.945,2.5), layer=34, texttype=10))
diffn_pfets.add(gdstk.Label('D1', (-0.255,1.84), layer=34, texttype=10))
diffn_pfets.add(gdstk.Label('D2', (12.49,-0.205), layer=34, texttype=10))
diffn_pfets.add(gdstk.Label('S', (5.555,1.8), layer=34, texttype=10))
diffn_pfets.add(gdstk.Label('B', (14.07,-1.145), layer=34, texttype=10))

lib.write_gds('DiffN_pfets.gds')
